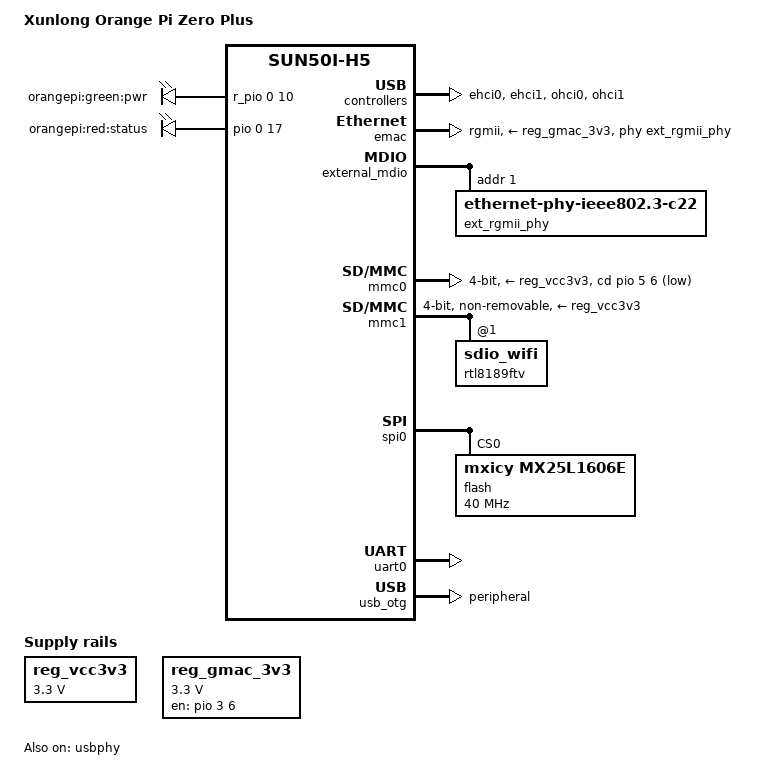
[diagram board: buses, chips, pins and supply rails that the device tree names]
/*
 * Copyright (C) 2016 ARM Ltd.
 * Copyright (C) 2018 Hauke Mehrtens <hauke@hauke-m.de>
 *
 * SPDX-License-Identifier: (GPL-2.0+ OR X11)
 */

/dts-v1/;
#include "sun50i-h5.dtsi"

#include <dt-bindings/gpio/gpio.h>
#include <dt-bindings/input/input.h>
#include <dt-bindings/pinctrl/sun4i-a10.h>

/ {
	model = "Xunlong Orange Pi Zero Plus";
	compatible = "xunlong,orangepi-zero-plus", "allwinner,sun50i-h5";

	reg_vcc3v3: vcc3v3 {
		compatible = "regulator-fixed";
		regulator-name = "vcc3v3";
		regulator-min-microvolt = <3300000>;
		regulator-max-microvolt = <3300000>;
	};

	aliases {
		ethernet0 = &emac;
		ethernet1 = &rtl8189ftv;
		serial0 = &uart0;
	};

	chosen {
		stdout-path = "serial0:115200n8";
	};

	leds {
		compatible = "gpio-leds";

		pwr {
			label = "orangepi:green:pwr";
			gpios = <&r_pio 0 10 GPIO_ACTIVE_HIGH>; /* PA10 */
			default-state = "on";
		};

		status {
			label = "orangepi:red:status";
			gpios = <&pio 0 17 GPIO_ACTIVE_HIGH>; /* PA17 */
		};
	};

	reg_gmac_3v3: gmac-3v3 {
		compatible = "regulator-fixed";
		regulator-name = "gmac-3v3";
		regulator-min-microvolt = <3300000>;
		regulator-max-microvolt = <3300000>;
		startup-delay-us = <100000>;
		enable-active-high;
		gpio = <&pio 3 6 GPIO_ACTIVE_HIGH>; /* PD6 */
	};
};

&ehci0 {
	status = "okay";
};

&ehci1 {
	status = "okay";
};

&emac {
	pinctrl-names = "default";
	pinctrl-0 = <&emac_rgmii_pins>;
	phy-supply = <&reg_gmac_3v3>;
	phy-handle = <&ext_rgmii_phy>;
	phy-mode = "rgmii";
	status = "okay";
};

&external_mdio {
	ext_rgmii_phy: ethernet-phy@1 {
		compatible = "ethernet-phy-ieee802.3-c22";
		reg = <1>;
	};
};

&mmc0 {
	vmmc-supply = <&reg_vcc3v3>;
	bus-width = <4>;
	cd-gpios = <&pio 5 6 GPIO_ACTIVE_LOW>; /* PF6 */
	status = "okay";
};

&mmc1 {
	vmmc-supply = <&reg_vcc3v3>;
	bus-width = <4>;
	non-removable;
	status = "okay";

	/*
	 * Explicitly define the sdio device, so that we can add an ethernet
	 * alias for it (which e.g. makes u-boot set a mac-address).
	 */
	rtl8189ftv: sdio_wifi@1 {
		reg = <1>;
	};
};

&spi0  {
	status = "okay";

	flash@0 {
		#address-cells = <1>;
		#size-cells = <1>;
		compatible = "mxicy,mx25l1606e", "winbond,w25q128";
		reg = <0>;
		spi-max-frequency = <40000000>;
	};
};

&ohci0 {
	status = "okay";
};

&ohci1 {
	status = "okay";
};

&uart0 {
	pinctrl-names = "default";
	pinctrl-0 = <&uart0_pins_a>;
	status = "okay";
};

&usb_otg {
	dr_mode = "peripheral";
	status = "okay";
};

&usbphy {
	/* USB Type-A ports' VBUS is always on */
	usb0_id_det-gpios = <&pio 6 12 GPIO_ACTIVE_HIGH>; /* PG12 */
	status = "okay";
};
